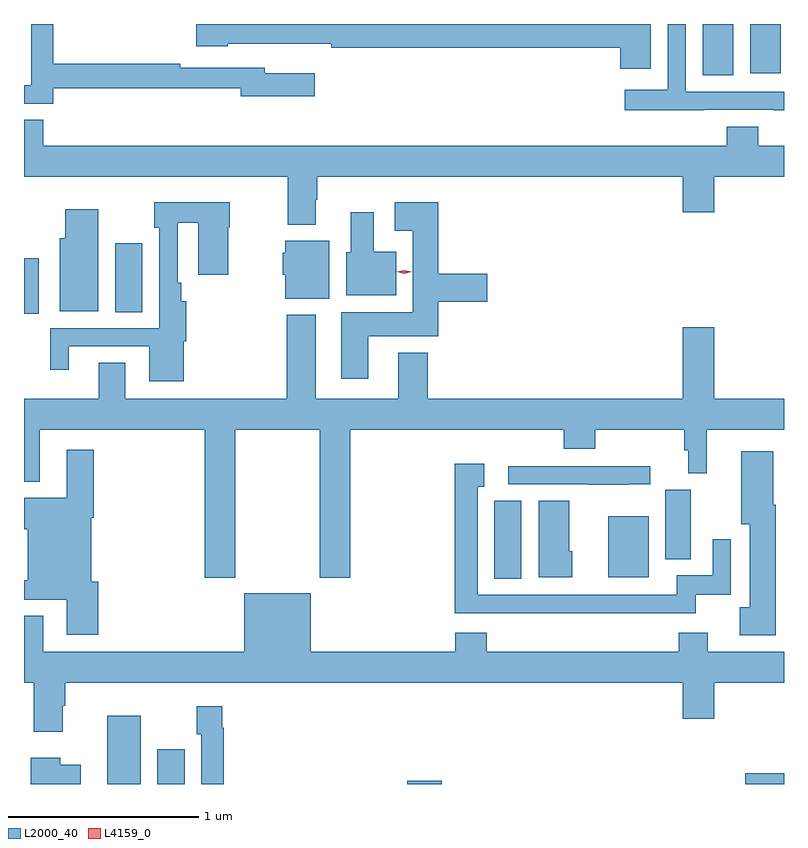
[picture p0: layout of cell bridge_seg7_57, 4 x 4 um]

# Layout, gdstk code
import gdstk
lib = gdstk.Library(unit=1e-6, precision=1e-09)
def R(c, l, rs):  # rectangles x0, y0, x1, y1
    for r in rs: c.add(gdstk.rectangle(r[:2], r[2:], *l))
def P(c, l, *ps):  # polygons
    for p in ps: c.add(gdstk.Polygon(p, *l))
L2000_40 = (2000, 40)
L4159_0 = (4159, 0)

bridge_seg7_57 = lib.new_cell('bridge_seg7_57')
R(bridge_seg7_57, L2000_40, [(905.234,1008.076,905.41,1008.436), (905.498,1008.076,905.641,1008.259), (906.812,1008.076,906.995,1008.094), (908.592,1008.076,908.796,1008.132), (907.271,1009.156,907.414,1009.568), (907.871,1009.163,908.083,1009.486), (908.171,1009.259,908.305,1009.626), (904.796,1010.552,904.873,1010.842), (905.276,1010.56,905.419,1010.923), (908.369,1011.805,908.53,1012.076), (908.618,1011.816,908.779,1012.076)])
P(bridge_seg7_57, L2000_40, [(908.377,1011.624),(908.743,1011.624),(908.743,1011.623),(908.796,1011.623),(908.796,1011.72),(908.28,1011.72),(908.28,1012.076),(908.184,1012.076),(908.184,1011.73),(907.959,1011.73),(907.959,1011.623),(908.377,1011.623)],
  [(908.095,1012.076),(905.702,1012.076),(905.702,1011.959),(905.868,1011.959),(905.868,1011.972),(906.16,1011.972),(906.16,1011.971),(906.412,1011.971),(906.412,1011.952),(907.934,1011.952),(907.934,1011.84),(908.095,1011.84)],
  [(904.949,1011.738),(905.936,1011.738),(905.936,1011.695),(906.325,1011.695),(906.325,1011.817),(906.064,1011.817),(906.064,1011.846),(905.618,1011.846),(905.618,1011.866),(904.949,1011.866),(904.949,1012.076),(904.833,1012.076),(904.833,1011.753),(904.796,1011.753),(904.796,1011.657),(904.949,1011.657)],
  [(906.331,1011.152),(906.339,1011.152),(906.339,1011.272),(908.264,1011.272),(908.264,1011.084),(908.428,1011.084),(908.428,1011.272),(908.796,1011.272),(908.796,1011.436),(908.66,1011.436),(908.66,1011.535),(908.495,1011.535),(908.495,1011.436),(904.898,1011.436),(904.898,1011.572),(904.796,1011.572),(904.796,1011.272),(906.184,1011.272),(906.184,1011.02),(906.331,1011.02)],
  [(906.607,1010.432),(906.977,1010.432),(906.977,1010.615),(907.234,1010.615),(907.234,1010.762),(906.977,1010.762),(906.977,1011.139),(906.747,1011.139),(906.747,1010.987),(906.842,1010.987),(906.842,1010.56),(906.467,1010.56),(906.467,1010.208),(906.607,1010.208)],
  [(905.638,1010.406),(905.651,1010.406),(905.651,1010.617),(905.624,1010.617),(905.624,1010.713),(905.604,1010.713),(905.604,1011.03),(905.714,1011.03),(905.714,1010.757),(905.872,1010.757),(905.872,1011.005),(905.88,1011.005),(905.88,1011.139),(905.482,1011.139),(905.482,1011.003),(905.508,1011.003),(905.508,1010.475),(904.934,1010.475),(904.934,1010.256),(905.032,1010.256),(905.032,1010.379),(905.456,1010.379),(905.456,1010.195),(905.638,1010.195)],
  [(905.188,1011.1),(905.012,1011.1),(905.012,1010.949),(904.985,1010.949),(904.985,1010.564),(905.188,1010.564)],
  [(906.754,1010.878),(906.637,1010.878),(906.637,1011.085),(906.515,1011.085),(906.515,1010.874),(906.491,1010.874),(906.491,1010.648),(906.754,1010.648)],
  [(906.403,1010.935),(906.17,1010.935),(906.17,1010.871),(906.158,1010.871),(906.158,1010.757),(906.17,1010.757),(906.17,1010.63),(906.403,1010.63)],
  [(905.907,1009.94),(906.352,1009.94),(906.352,1009.161),(906.512,1009.161),(906.512,1009.94),(907.637,1009.94),(907.637,1009.841),(907.802,1009.841),(907.802,1009.94),(908.272,1009.94),(908.272,1009.832),(908.291,1009.832),(908.291,1009.711),(908.39,1009.711),(908.39,1009.94),(908.796,1009.94),(908.796,1010.104),(908.428,1010.104),(908.428,1010.479),(908.264,1010.479),(908.264,1010.104),(906.92,1010.104),(906.92,1010.347),(906.767,1010.347),(906.767,1010.104),(906.331,1010.104),(906.331,1010.545),(906.179,1010.545),(906.179,1010.104),(905.329,1010.104),(905.329,1010.294),(905.189,1010.294),(905.189,1010.104),(904.796,1010.104),(904.796,1009.667),(904.879,1009.667),(904.879,1009.94),(905.747,1009.94),(905.747,1009.161),(905.907,1009.161)],
  [(905.186,1009.14),(905.149,1009.14),(905.149,1009.478),(905.162,1009.478),(905.162,1009.834),(905.021,1009.834),(905.021,1009.582),(904.796,1009.582),(904.796,1009.418),(904.817,1009.418),(904.817,1009.148),(904.796,1009.148),(904.796,1009.047),(905.021,1009.047),(905.021,1008.861),(905.186,1008.861)],
  [(908.753,1009.546),(908.74,1009.546),(908.74,1009.828),(908.57,1009.828),(908.57,1009.442),(908.615,1009.442),(908.615,1009.005),(908.562,1009.005),(908.562,1008.86),(908.753,1008.86)],
  [(908.331,1009.072),(908.516,1009.072),(908.516,1009.212),(908.517,1009.212),(908.517,1009.363),(908.421,1009.363),(908.421,1009.174),(908.231,1009.174),(908.231,1009.071),(907.183,1009.071),(907.183,1009.641),(907.219,1009.641),(907.219,1009.762),(907.062,1009.762),(907.062,1008.975),(907.315,1008.975),(907.315,1008.974),(908.331,1008.974)],
  [(907.979,1009.654),(908.092,1009.654),(908.092,1009.749),(907.344,1009.749),(907.344,1009.653),(907.762,1009.653),(907.762,1009.652),(907.979,1009.652)],
  [(907.681,1009.302),(907.666,1009.302),(907.666,1009.567),(907.505,1009.567),(907.505,1009.163),(907.681,1009.163)],
  [(904.999,1008.488),(905.012,1008.488),(905.012,1008.608),(908.264,1008.608),(908.264,1008.42),(908.428,1008.42),(908.428,1008.608),(908.796,1008.608),(908.796,1008.772),(908.395,1008.772),(908.395,1008.871),(908.243,1008.871),(908.243,1008.772),(907.232,1008.772),(907.232,1008.871),(907.067,1008.871),(907.067,1008.772),(906.304,1008.772),(906.304,1009.081),(905.954,1009.081),(905.954,1008.772),(904.897,1008.772),(904.897,1008.962),(904.796,1008.962),(904.796,1008.608),(904.847,1008.608),(904.847,1008.351),(904.999,1008.351)],
  [(905.846,1008.371),(905.839,1008.371),(905.839,1008.484),(905.704,1008.484),(905.704,1008.339),(905.73,1008.339),(905.73,1008.076),(905.846,1008.076)],
  [(905.095,1008.178),(904.987,1008.178),(904.987,1008.214),(904.832,1008.214),(904.832,1008.076),(905.095,1008.076)])
P(bridge_seg7_57, L4159_0, [(906.798,1010.761),(906.759,1010.771),(906.759,1010.771),(906.759,1010.772),(906.798,1010.781),(906.838,1010.772),(906.838,1010.771),(906.838,1010.771)])

lib.write_gds('bridge_seg7_57.gds')
